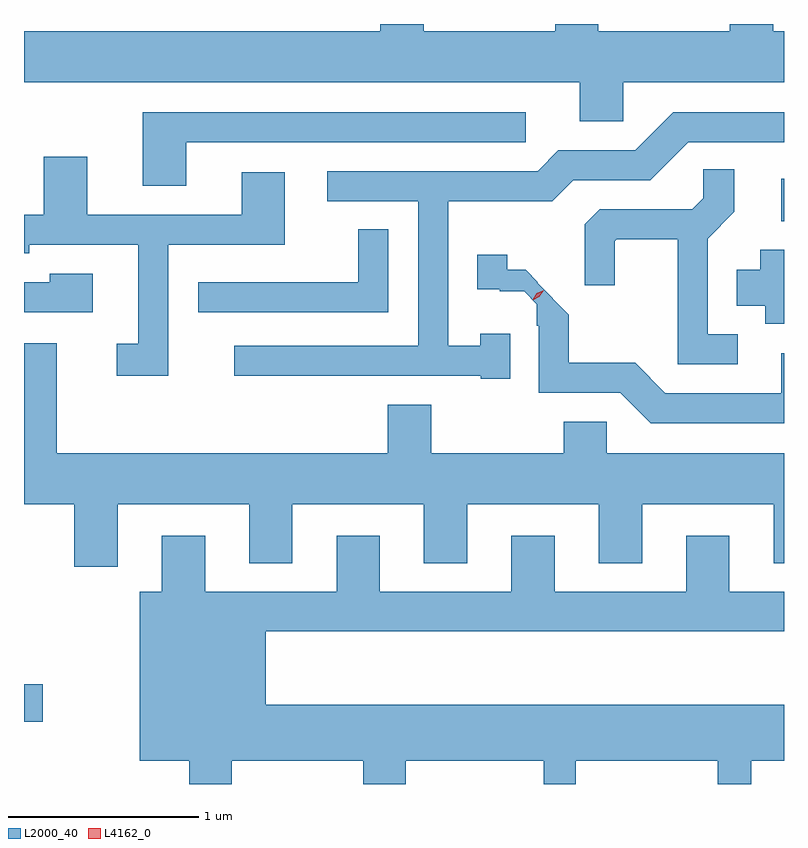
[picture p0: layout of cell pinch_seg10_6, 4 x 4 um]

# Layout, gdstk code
import gdstk
lib = gdstk.Library(unit=1e-6, precision=1e-09)
def R(c, l, rs):  # rectangles x0, y0, x1, y1
    for r in rs: c.add(gdstk.rectangle(r[:2], r[2:], *l))
def P(c, l, *ps):  # polygons
    for p in ps: c.add(gdstk.Polygon(p, *l))
L2000_40 = (2000, 40)
L4162_0 = (4162, 0)

pinch_seg10_6 = lib.new_cell('pinch_seg10_6')
R(pinch_seg10_6, L2000_40, [(848.496,2132.751,848.594,2132.949), (852.481,2135.386,852.496,2135.609)])
P(pinch_seg10_6, L2000_40, [(851.649,2136.116),(852.496,2136.116),(852.496,2136.384),(852.439,2136.384),(852.439,2136.423),(852.211,2136.423),(852.211,2136.384),(851.519,2136.384),(851.519,2136.423),(851.291,2136.423),(851.291,2136.384),(850.599,2136.384),(850.599,2136.423),(850.371,2136.423),(850.371,2136.384),(848.496,2136.384),(848.496,2136.116),(851.421,2136.116),(851.421,2135.911),(851.649,2135.911)],
  [(851.054,2134.793),(850.896,2134.793),(850.896,2134.729),(850.729,2134.729),(850.729,2135.491),(851.277,2135.491),(851.387,2135.601),(851.792,2135.601),(851.992,2135.801),(852.496,2135.801),(852.496,2135.959),(851.914,2135.959),(851.714,2135.759),(851.309,2135.759),(851.199,2135.649),(850.093,2135.649),(850.093,2135.491),(850.571,2135.491),(850.571,2134.729),(849.603,2134.729),(849.603,2134.571),(850.9,2134.571),(850.9,2134.556),(851.054,2134.556)],
  [(849.349,2135.801),(851.138,2135.801),(851.138,2135.959),(849.121,2135.959),(849.121,2135.571),(849.349,2135.571)],
  [(849.254,2135.261),(849.869,2135.261),(849.869,2135.644),(849.641,2135.644),(849.641,2135.419),(848.829,2135.419),(848.829,2135.724),(848.601,2135.724),(848.601,2135.419),(848.496,2135.419),(848.496,2135.216),(848.524,2135.216),(848.524,2135.261),(849.096,2135.261),(849.096,2134.739),(848.983,2134.739),(848.983,2134.571),(849.254,2134.571)],
  [(852.253,2134.789),(852.094,2134.789),(852.094,2135.294),(852.234,2135.434),(852.234,2135.658),(852.071,2135.658),(852.071,2135.507),(852.014,2135.449),(851.527,2135.449),(851.446,2135.369),(851.446,2135.048),(851.604,2135.048),(851.604,2135.279),(851.617,2135.291),(851.936,2135.291),(851.936,2134.631),(852.253,2134.631)],
  [(850.414,2135.343),(850.256,2135.343),(850.256,2135.064),(849.413,2135.064),(849.413,2134.906),(850.414,2134.906)],
  [(852.496,2135.234),(852.371,2135.234),(852.371,2135.129),(852.246,2135.129),(852.246,2134.941),(852.396,2134.941),(852.396,2134.846),(852.496,2134.846)],
  [(852.496,2134.689),(852.481,2134.689),(852.481,2134.479),(851.872,2134.479),(851.712,2134.639),(851.364,2134.639),(851.364,2134.894),(851.198,2135.06),(851.201,2135.064),(851.136,2135.129),(851.039,2135.129),(851.039,2135.208),(850.881,2135.208),(850.881,2135.026),(851,2135.026),(851,2135.017),(851.128,2135.017),(851.195,2134.949),(851.195,2134.834),(851.206,2134.834),(851.206,2134.481),(851.634,2134.481),(851.794,2134.321),(852.496,2134.321)],
  [(848.859,2135.109),(848.631,2135.109),(848.631,2135.064),(848.496,2135.064),(848.496,2134.906),(848.859,2134.906)],
  [(848.989,2133.896),(849.681,2133.896),(849.681,2133.586),(849.909,2133.586),(849.909,2133.896),(850.601,2133.896),(850.601,2133.586),(850.829,2133.586),(850.829,2133.896),(851.521,2133.896),(851.521,2133.586),(851.749,2133.586),(851.749,2133.896),(852.441,2133.896),(852.441,2133.586),(852.496,2133.586),(852.496,2134.164),(851.564,2134.164),(851.564,2134.329),(851.336,2134.329),(851.336,2134.164),(850.639,2134.164),(850.639,2134.419),(850.411,2134.419),(850.411,2134.164),(848.669,2134.164),(848.669,2134.744),(848.496,2134.744),(848.496,2133.896),(848.761,2133.896),(848.761,2133.566),(848.989,2133.566)],
  [(849.589,2132.546),(850.281,2132.546),(850.281,2132.423),(850.504,2132.423),(850.504,2132.546),(851.231,2132.546),(851.231,2132.423),(851.399,2132.423),(851.399,2132.546),(852.146,2132.546),(852.146,2132.423),(852.324,2132.423),(852.324,2132.546),(852.496,2132.546),(852.496,2132.839),(849.769,2132.839),(849.769,2133.226),(852.496,2133.226),(852.496,2133.434),(852.209,2133.434),(852.209,2133.729),(851.981,2133.729),(851.981,2133.434),(851.289,2133.434),(851.289,2133.729),(851.061,2133.729),(851.061,2133.434),(850.369,2133.434),(850.369,2133.729),(850.141,2133.729),(850.141,2133.434),(849.449,2133.434),(849.449,2133.729),(849.221,2133.729),(849.221,2133.434),(849.106,2133.434),(849.106,2132.546),(849.366,2132.546),(849.366,2132.423),(849.589,2132.423)])
P(pinch_seg10_6, L4162_0, [(851.173,2134.97),(851.173,2134.97),(851.196,2135.003),(851.231,2135.022),(851.232,2135.022),(851.232,2135.021),(851.209,2134.988),(851.174,2134.97)],
  [(851.177,2134.976),(851.177,2134.977),(851.195,2135.005),(851.225,2135.018),(851.226,2135.018),(851.226,2135.018),(851.208,2134.99),(851.177,2134.976)])

lib.write_gds('pinch_seg10_6.gds')
